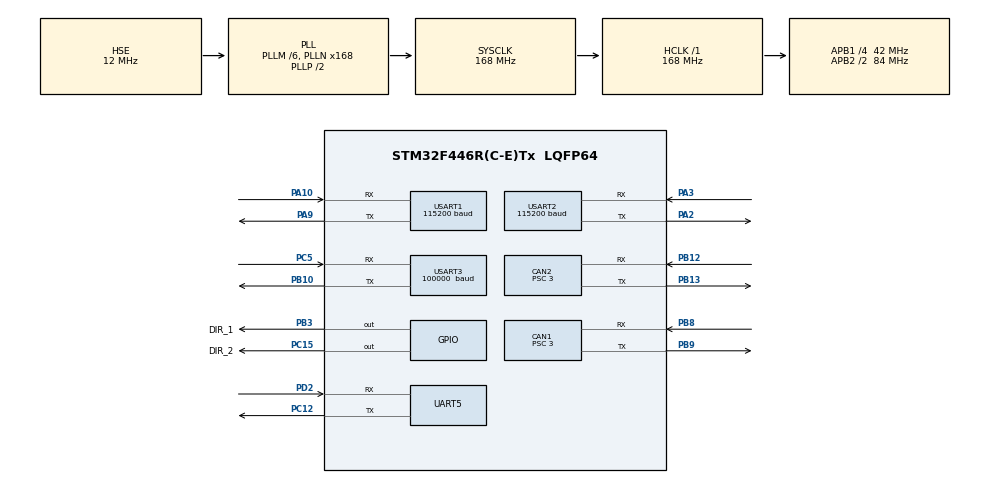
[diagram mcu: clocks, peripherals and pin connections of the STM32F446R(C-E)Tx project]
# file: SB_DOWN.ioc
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CAN1.BS1=CAN_BS1_10TQ
CAN1.BS2=CAN_BS2_3TQ
CAN1.CalculateBaudRate=1000000
CAN1.CalculateTimeBit=1000
CAN1.CalculateTimeQuantum=71.42857142857143
CAN1.Prescaler=3
CAN2.BS1=CAN_BS1_10TQ
CAN2.BS2=CAN_BS2_3TQ
CAN2.CalculateBaudRate=1000000
CAN2.CalculateTimeBit=1000
CAN2.CalculateTimeQuantum=71.42857142857143
CAN2.Prescaler=3
Dma.Request0=USART3_RX
Dma.Request1=USART3_TX
Dma.Request2=UART5_RX
Dma.Request3=UART5_TX
Dma.Request4=USART1_RX
Dma.Request5=USART1_TX
Dma.Request6=USART2_RX
Dma.Request7=USART2_TX
Dma.UART5_RX.2.Direction=DMA_PERIPH_TO_MEMORY
Dma.UART5_RX.2.FIFOMode=DMA_FIFOMODE_DISABLE
Dma.UART5_RX.2.Instance=DMA1_Stream0
Dma.UART5_RX.2.MemDataAlignment=DMA_MDATAALIGN_BYTE
Dma.UART5_RX.2.MemInc=DMA_MINC_ENABLE
Dma.UART5_RX.2.Mode=DMA_CIRCULAR
Dma.UART5_RX.2.PeriphDataAlignment=DMA_PDATAALIGN_BYTE
Dma.UART5_RX.2.PeriphInc=DMA_PINC_DISABLE
Dma.UART5_RX.2.Priority=DMA_PRIORITY_LOW
Dma.UART5_TX.3.Direction=DMA_MEMORY_TO_PERIPH
Dma.UART5_TX.3.FIFOMode=DMA_FIFOMODE_DISABLE
Dma.UART5_TX.3.Instance=DMA1_Stream7
Dma.UART5_TX.3.MemDataAlignment=DMA_MDATAALIGN_BYTE
Dma.UART5_TX.3.MemInc=DMA_MINC_ENABLE
Dma.UART5_TX.3.Mode=DMA_NORMAL
Dma.UART5_TX.3.PeriphDataAlignment=DMA_PDATAALIGN_BYTE
Dma.UART5_TX.3.PeriphInc=DMA_PINC_DISABLE
Dma.UART5_TX.3.Priority=DMA_PRIORITY_LOW
Dma.USART1_RX.4.Direction=DMA_PERIPH_TO_MEMORY
Dma.USART1_RX.4.FIFOMode=DMA_FIFOMODE_DISABLE
Dma.USART1_RX.4.Instance=DMA2_Stream2
Dma.USART1_RX.4.MemDataAlignment=DMA_MDATAALIGN_BYTE
Dma.USART1_RX.4.MemInc=DMA_MINC_ENABLE
Dma.USART1_RX.4.Mode=DMA_CIRCULAR
Dma.USART1_RX.4.PeriphDataAlignment=DMA_PDATAALIGN_BYTE
Dma.USART1_RX.4.PeriphInc=DMA_PINC_DISABLE
Dma.USART1_RX.4.Priority=DMA_PRIORITY_LOW
Dma.USART1_TX.5.Direction=DMA_MEMORY_TO_PERIPH
Dma.USART1_TX.5.FIFOMode=DMA_FIFOMODE_DISABLE
Dma.USART1_TX.5.Instance=DMA2_Stream7
Dma.USART1_TX.5.MemDataAlignment=DMA_MDATAALIGN_BYTE
Dma.USART1_TX.5.MemInc=DMA_MINC_ENABLE
Dma.USART1_TX.5.Mode=DMA_CIRCULAR
Dma.USART1_TX.5.PeriphDataAlignment=DMA_PDATAALIGN_BYTE
Dma.USART1_TX.5.PeriphInc=DMA_PINC_DISABLE
Dma.USART1_TX.5.Priority=DMA_PRIORITY_LOW
Dma.USART2_RX.6.Direction=DMA_PERIPH_TO_MEMORY
Dma.USART2_RX.6.FIFOMode=DMA_FIFOMODE_DISABLE
Dma.USART2_RX.6.Instance=DMA1_Stream5
Dma.USART2_RX.6.MemDataAlignment=DMA_MDATAALIGN_BYTE
Dma.USART2_RX.6.MemInc=DMA_MINC_ENABLE
Dma.USART2_RX.6.Mode=DMA_CIRCULAR
Dma.USART2_RX.6.PeriphDataAlignment=DMA_PDATAALIGN_BYTE
Dma.USART2_RX.6.PeriphInc=DMA_PINC_DISABLE
Dma.USART2_RX.6.Priority=DMA_PRIORITY_LOW
Dma.USART2_TX.7.Direction=DMA_MEMORY_TO_PERIPH
Dma.USART2_TX.7.FIFOMode=DMA_FIFOMODE_DISABLE
Dma.USART2_TX.7.Instance=DMA1_Stream6
Dma.USART2_TX.7.MemDataAlignment=DMA_MDATAALIGN_BYTE
Dma.USART2_TX.7.MemInc=DMA_MINC_ENABLE
Dma.USART2_TX.7.Mode=DMA_CIRCULAR
Dma.USART2_TX.7.PeriphDataAlignment=DMA_PDATAALIGN_BYTE
Dma.USART2_TX.7.PeriphInc=DMA_PINC_DISABLE
Dma.USART2_TX.7.Priority=DMA_PRIORITY_LOW
Dma.USART3_RX.0.Direction=DMA_PERIPH_TO_MEMORY
Dma.USART3_RX.0.FIFOMode=DMA_FIFOMODE_DISABLE
Dma.USART3_RX.0.Instance=DMA1_Stream1
Dma.USART3_RX.0.MemDataAlignment=DMA_MDATAALIGN_BYTE
Dma.USART3_RX.0.MemInc=DMA_MINC_ENABLE
Dma.USART3_RX.0.Mode=DMA_CIRCULAR
Dma.USART3_RX.0.PeriphDataAlignment=DMA_PDATAALIGN_BYTE
Dma.USART3_RX.0.PeriphInc=DMA_PINC_DISABLE
Dma.USART3_RX.0.Priority=DMA_PRIORITY_LOW
Dma.USART3_TX.1.Direction=DMA_MEMORY_TO_PERIPH
Dma.USART3_TX.1.FIFOMode=DMA_FIFOMODE_DISABLE
Dma.USART3_TX.1.Instance=DMA1_Stream3
Dma.USART3_TX.1.MemDataAlignment=DMA_MDATAALIGN_BYTE
Dma.USART3_TX.1.MemInc=DMA_MINC_ENABLE
Dma.USART3_TX.1.Mode=DMA_CIRCULAR
Dma.USART3_TX.1.PeriphDataAlignment=DMA_PDATAALIGN_BYTE
Dma.USART3_TX.1.PeriphInc=DMA_PINC_DISABLE
Dma.USART3_TX.1.Priority=DMA_PRIORITY_LOW
FREERTOS.Tasks01=defaultTask,0,128,StartDefaultTask,Default,NULL,Dynamic,NULL,NULL
Mcu.Family=STM32F4
Mcu.Name=STM32F446R(C-E)Tx
Mcu.Package=LQFP64
NVIC.CAN1_RX0_IRQn=true\:5\:0\:false\:false\:true\:true\:true\:true\:true
NVIC.CAN1_RX1_IRQn=true\:5\:0\:false\:false\:true\:true\:true\:true\:true
NVIC.CAN1_TX_IRQn=true\:5\:0\:false\:false\:true\:true\:true\:true\:true
NVIC.CAN2_RX0_IRQn=true\:5\:0\:false\:false\:true\:true\:true\:true\:true
NVIC.CAN2_RX1_IRQn=true\:5\:0\:false\:false\:true\:true\:true\:true\:true
NVIC.CAN2_TX_IRQn=true\:5\:0\:false\:false\:true\:true\:true\:true\:true
NVIC.DMA1_Stream0_IRQn=true\:5\:0\:false\:false\:true\:true\:false\:true\:true
NVIC.DMA1_Stream1_IRQn=true\:5\:0\:false\:false\:true\:true\:false\:true\:true
NVIC.DMA1_Stream3_IRQn=true\:5\:0\:false\:false\:true\:true\:false\:true\:true
NVIC.DMA1_Stream5_IRQn=true\:5\:0\:false\:false\:true\:true\:false\:true\:true
NVIC.DMA1_Stream6_IRQn=true\:5\:0\:false\:false\:true\:true\:false\:true\:true
NVIC.DMA1_Stream7_IRQn=true\:5\:0\:false\:false\:true\:true\:false\:true\:true
NVIC.DMA2_Stream2_IRQn=true\:5\:0\:false\:false\:true\:true\:false\:true\:true
NVIC.DMA2_Stream7_IRQn=true\:5\:0\:false\:false\:true\:true\:false\:true\:true
NVIC.PriorityGroup=NVIC_PRIORITYGROUP_4
NVIC.TIM4_IRQn=true\:5\:0\:false\:false\:true\:true\:true\:true\:true
NVIC.UART5_IRQn=true\:5\:0\:false\:false\:true\:true\:true\:true\:true
NVIC.USART1_IRQn=true\:5\:0\:false\:false\:true\:true\:true\:true\:true
NVIC.USART2_IRQn=true\:5\:0\:false\:false\:true\:true\:true\:true\:true
NVIC.USART3_IRQn=true\:5\:0\:false\:false\:true\:true\:true\:true\:true
PA10.Mode=Asynchronous
PA10.Signal=USART1_RX
PA13.Mode=Serial_Wire
PA13.Signal=SYS_JTMS-SWDIO
PA14.Mode=Serial_Wire
PA14.Signal=SYS_JTCK-SWCLK
PA2.Mode=Asynchronous
PA2.Signal=USART2_TX
PA3.Mode=Asynchronous
PA3.Signal=USART2_RX
PA9.Mode=Asynchronous
PA9.Signal=USART1_TX
PB10.Mode=Asynchronous
PB10.Signal=USART3_TX
PB12.Mode=CAN_Activate
PB12.Signal=CAN2_RX
PB13.Mode=CAN_Activate
PB13.Signal=CAN2_TX
PB3.GPIO_Label=DIR_1
PB3.GPIO_PuPd=GPIO_PULLUP
PB3.GPIO_Speed=GPIO_SPEED_FREQ_HIGH
PB3.Signal=GPIO_Output
PB8.Mode=CAN_Activate
PB8.Signal=CAN1_RX
PB9.Mode=CAN_Activate
PB9.Signal=CAN1_TX
PC12.Mode=Asynchronous
PC12.Signal=UART5_TX
PC15-OSC32_OUT.GPIO_Label=DIR_2
PC15-OSC32_OUT.GPIO_PuPd=GPIO_PULLUP
PC15-OSC32_OUT.Signal=GPIO_Output
PC5.Mode=Asynchronous
PC5.Signal=USART3_RX
PD2.Mode=Asynchronous
PD2.Signal=UART5_RX
PH0-OSC_IN.Mode=HSE-External-Oscillator
PH0-OSC_IN.Signal=RCC_OSC_IN
PH1-OSC_OUT.Mode=HSE-External-Oscillator
PH1-OSC_OUT.Signal=RCC_OSC_OUT
ProjectManager.HeapSize=0x200
ProjectManager.StackSize=0x400
ProjectManager.TargetToolchain=MDK-ARM V5.32
RCC.AHBFreq_Value=168000000
RCC.APB1CLKDivider=RCC_HCLK_DIV4
RCC.APB1Freq_Value=42000000
RCC.APB1TimFreq_Value=84000000
RCC.APB2CLKDivider=RCC_HCLK_DIV2
RCC.APB2Freq_Value=84000000
RCC.APB2TimFreq_Value=168000000
RCC.CortexFreq_Value=168000000
RCC.HCLKFreq_Value=168000000
RCC.HSE_VALUE=12000000
RCC.PLLM=6
RCC.PLLN=168
RCC.PLLSourceVirtual=RCC_PLLSOURCE_HSE
RCC.SYSCLKFreq_VALUE=168000000
RCC.SYSCLKSource=RCC_SYSCLKSOURCE_PLLCLK
RCC.USBFreq_Value=168000000
RCC.VCOOutputFreq_Value=336000000
TIM4.AutoReloadPreload=TIM_AUTORELOAD_PRELOAD_ENABLE
TIM4.Period=100-1
TIM4.Prescaler=840-1
UART5.VirtualMode=Asynchronous
USART1.BaudRate=115200
USART1.VirtualMode=VM_ASYNC
USART2.BaudRate=115200
USART2.VirtualMode=VM_ASYNC
USART3.BaudRate=100000 
USART3.VirtualMode=VM_ASYNC
VP_FREERTOS_VS_CMSIS_V1.Mode=CMSIS_V1
VP_RTC_VS_RTC_Activate.Mode=RTC_Enabled
VP_TIM4_VS_ClockSourceINT.Mode=Internal
board=custom

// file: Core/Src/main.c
/* USER CODE BEGIN Header */
/**
  ******************************************************************************
  * @file           : main.c
  * @brief          : Main program body
  ******************************************************************************
  * @attention
  *
  * Copyright (c) 2024 STMicroelectronics.
  * All rights reserved.
  *
  * This software is licensed under terms that can be found in the LICENSE file
  * in the root directory of this software component.
  * If no LICENSE file comes with this software, it is provided AS-IS.
  *
  ******************************************************************************
  */
/* USER CODE END Header */
#include "main.h"
#include "cmsis_os.h"
#include "can.h"
#include "dma.h"
#include "rtc.h"
#include "tim.h"
#include "usart.h"
#include "gpio.h"

/* USER CODE BEGIN Includes */
#include "can_user.h"
#include "uart_user.h"
/* USER CODE END Includes */

void SystemClock_Config(void);
void MX_FREERTOS_Init(void);

int main(void)
{

  /* MCU Configuration--------------------------------------------------------*/

  /* Reset of all peripherals, Initializes the Flash interface and the Systick. */
  HAL_Init();

  /* Configure the system clock */
  SystemClock_Config();

  /* Initialize all configured peripherals */
  MX_GPIO_Init();
  MX_DMA_Init();
  MX_CAN1_Init();
  MX_CAN2_Init();
  MX_USART3_UART_Init();
  MX_UART5_Init();
  MX_USART1_UART_Init();
  MX_USART2_UART_Init();
  MX_TIM4_Init();
  MX_RTC_Init();
  /* USER CODE BEGIN 2 */
	CAN1_Init();
	CAN2_Init();
	USART3_Init();
	UART5_Init();
	USART1_Init(); //收发导航数据 RS485
//	HAL_TIM_Base_Start_IT(&htim4); //启动定时器TIM4
  /* USER CODE END 2 */

  /* Call init function for freertos objects (in freertos.c) */
  MX_FREERTOS_Init();

  /* Start scheduler */
  osKernelStart();

  /* We should never get here as control is now taken by the scheduler */
  /* Infinite loop */
  while (1)
  {

  }
}

void SystemClock_Config(void)
{
  RCC_OscInitTypeDef RCC_OscInitStruct = {0};
  RCC_ClkInitTypeDef RCC_ClkInitStruct = {0};

  /** Configure the main internal regulator output voltage
  */
  __HAL_RCC_PWR_CLK_ENABLE();
  __HAL_PWR_VOLTAGESCALING_CONFIG(PWR_REGULATOR_VOLTAGE_SCALE1);

  /** Initializes the RCC Oscillators according to the specified parameters
  * in the RCC_OscInitTypeDef structure.
  */
  RCC_OscInitStruct.OscillatorType = RCC_OSCILLATORTYPE_LSI|RCC_OSCILLATORTYPE_HSE;
  RCC_OscInitStruct.HSEState = RCC_HSE_ON;
  RCC_OscInitStruct.LSEState = RCC_LSE_OFF;
  RCC_OscInitStruct.LSIState = RCC_LSI_ON;
  RCC_OscInitStruct.PLL.PLLState = RCC_PLL_ON;
  RCC_OscInitStruct.PLL.PLLSource = RCC_PLLSOURCE_HSE;
  RCC_OscInitStruct.PLL.PLLM = 6;
  RCC_OscInitStruct.PLL.PLLN = 168;
  RCC_OscInitStruct.PLL.PLLP = RCC_PLLP_DIV2;
  RCC_OscInitStruct.PLL.PLLQ = 2;
  RCC_OscInitStruct.PLL.PLLR = 2;
  if (HAL_RCC_OscConfig(&RCC_OscInitStruct) != HAL_OK)
  {
    Error_Handler();
  }

  /** Initializes the CPU, AHB and APB buses clocks
  */
  RCC_ClkInitStruct.ClockType = RCC_CLOCKTYPE_HCLK|RCC_CLOCKTYPE_SYSCLK
                              |RCC_CLOCKTYPE_PCLK1|RCC_CLOCKTYPE_PCLK2;
  RCC_ClkInitStruct.SYSCLKSource = RCC_SYSCLKSOURCE_PLLCLK;
  RCC_ClkInitStruct.AHBCLKDivider = RCC_SYSCLK_DIV1;
  RCC_ClkInitStruct.APB1CLKDivider = RCC_HCLK_DIV4;
  RCC_ClkInitStruct.APB2CLKDivider = RCC_HCLK_DIV2;

  if (HAL_RCC_ClockConfig(&RCC_ClkInitStruct, FLASH_LATENCY_5) != HAL_OK)
  {
    Error_Handler();
  }
}

void Error_Handler(void)
{
  __disable_irq();
  while (1)
  {
  }
}

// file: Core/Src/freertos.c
/* USER CODE BEGIN Header */
/**
  ******************************************************************************
  * File Name          : freertos.c
  * Description        : Code for freertos applications
  ******************************************************************************
  * @attention
  *
  * Copyright (c) 2024 STMicroelectronics.
  * All rights reserved.
  *
  * This software is licensed under terms that can be found in the LICENSE file
  * in the root directory of this software component.
  * If no LICENSE file comes with this software, it is provided AS-IS.
  *
  ******************************************************************************
  */
/* USER CODE END Header */

#include "FreeRTOS.h"
#include "task.h"
#include "main.h"
#include "cmsis_os.h"

/* USER CODE BEGIN Includes */
#include "Chassis_Task.h"
#include "Exchange_Task.h"
#include "Yaw_Task.h"
/* USER CODE END Includes */

osThreadId defaultTaskHandle;

/* USER CODE BEGIN FunctionPrototypes */
osThreadId chassisTaskHandle;
osThreadId yawTaskHandle;
osThreadId exchangeTaskHandle;
/* USER CODE END FunctionPrototypes */

void StartDefaultTask(void const * argument);

void MX_FREERTOS_Init(void); /* (MISRA C 2004 rule 8.1) */

/* GetIdleTaskMemory prototype (linked to static allocation support) */
void vApplicationGetIdleTaskMemory( StaticTask_t **ppxIdleTaskTCBBuffer, StackType_t **ppxIdleTaskStackBuffer, uint32_t *pulIdleTaskStackSize );

/* USER CODE BEGIN GET_IDLE_TASK_MEMORY */
static StaticTask_t xIdleTaskTCBBuffer;
static StackType_t xIdleStack[configMINIMAL_STACK_SIZE];

void vApplicationGetIdleTaskMemory( StaticTask_t **ppxIdleTaskTCBBuffer, StackType_t **ppxIdleTaskStackBuffer, uint32_t *pulIdleTaskStackSize )
{
  *ppxIdleTaskTCBBuffer = &xIdleTaskTCBBuffer;
  *ppxIdleTaskStackBuffer = &xIdleStack[0];
  *pulIdleTaskStackSize = configMINIMAL_STACK_SIZE;
  /* place for user code */
}
/* USER CODE END GET_IDLE_TASK_MEMORY */

void MX_FREERTOS_Init(void) {

  /* Create the thread(s) */
  /* definition and creation of defaultTask */
  osThreadDef(defaultTask, StartDefaultTask, osPriorityNormal, 0, 128);
  defaultTaskHandle = osThreadCreate(osThread(defaultTask), NULL);

  /* USER CODE BEGIN RTOS_THREADS */
  osThreadDef(chassisTask, Chassis_Task, osPriorityNormal, 0, 256);
	chassisTaskHandle = osThreadCreate(osThread(chassisTask), NULL);

	osThreadDef(yawTask, Yaw_task, osPriorityNormal, 0, 256);
	yawTaskHandle = osThreadCreate(osThread(yawTask), NULL);

	osThreadDef(exchangeTask, Exchange_Task, osPriorityRealtime, 0, 1024);
	exchangeTaskHandle = osThreadCreate(osThread(exchangeTask), NULL);
  /* USER CODE END RTOS_THREADS */

}

void StartDefaultTask(void const * argument)
{
  for(;;)
  {
    osDelay(1);
  }
}
